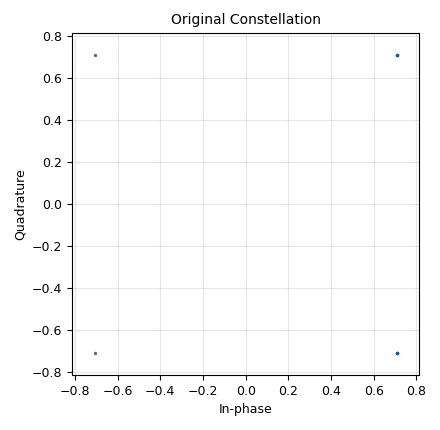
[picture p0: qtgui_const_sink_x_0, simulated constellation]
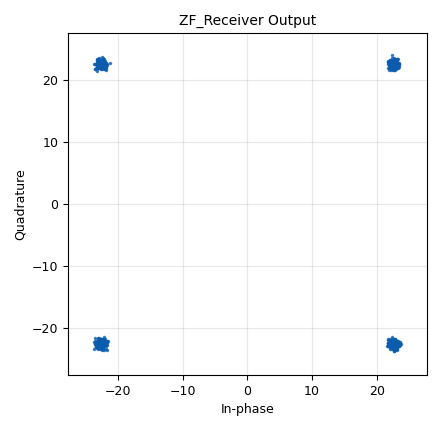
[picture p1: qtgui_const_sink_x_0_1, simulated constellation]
options:
  parameters:
    author: shivam
    generate_options: qt_gui
    id: OFDM_32_SC_general_ctaps
    output_language: python
    title: Not titled yet
  states: {}

blocks:
- name: channel_taps
  id: variable
  parameters:
    value: (1, ctap1, ctap2, ctap3, ctap4, ctap5, ctap6)
  states: {}
- name: const_points
  id: variable
  parameters:
    value: '4'
  states: {}
- name: ctap1
  id: variable_qtgui_range
  parameters:
    outputmsgname: value
    showports: 'False'
    start: '-1'
    step: '0.1'
    stop: '1'
    value: '0'
  states: {}
- name: ctap2
  id: variable_qtgui_range
  parameters:
    outputmsgname: value
    showports: 'False'
    start: '-1'
    step: '0.1'
    stop: '1'
    value: '0'
  states: {}
- name: ctap3
  id: variable_qtgui_range
  parameters:
    outputmsgname: value
    showports: 'False'
    start: '-1'
    step: '0.1'
    stop: '1'
    value: '0'
  states: {}
- name: ctap4
  id: variable_qtgui_range
  parameters:
    outputmsgname: value
    showports: 'False'
    start: '-1'
    step: '0.1'
    stop: '1'
    value: '0'
  states: {}
- name: ctap5
  id: variable_qtgui_range
  parameters:
    outputmsgname: value
    showports: 'False'
    start: '-1'
    step: '0.1'
    stop: '1'
    value: '0'
  states: {}
- name: ctap6
  id: variable_qtgui_range
  parameters:
    outputmsgname: value
    showports: 'False'
    start: '-1'
    step: '0.1'
    stop: '1'
    value: '0'
  states: {}
- name: fft_len
  id: variable
  parameters:
    value: '32'
  states: {}
- name: noise_level
  id: variable_qtgui_range
  parameters:
    outputmsgname: value
    showports: 'False'
    start: '0'
    step: '0.1'
    stop: '1'
    value: '0.1'
  states: {}
- name: num_channelTaps
  id: variable
  parameters:
    value: len(channel_taps)
  states: {}
- name: samp_rate
  id: variable
  parameters:
    value: '32000'
  states: {}
- name: analog_noise_source_x_0
  id: analog_noise_source_x
  parameters:
    amp: noise_level
    comment: |-
      Add AWGN to the channel, 
      amplitude varies 
      from 0.1 to 1 in steps of 0.1
    noise_type: analog.GR_GAUSSIAN
    seed: '0'
    type: complex
  states: {}
- name: analog_random_source_x_0
  id: analog_random_source_x
  parameters:
    comment: |-
      Generates random samples between [min,max-1], max value is not 
      included.
    max: const_points
    min: '0'
    num_samps: '10000'
    repeat: 'True'
    type: byte
  states: {}
- name: blocks_add_xx_0
  id: blocks_add_xx
  parameters:
    type: complex
  states: {}
- name: blocks_divide_xx_0
  id: blocks_divide_xx
  parameters:
    type: complex
  states: {}
- name: blocks_keep_m_in_n_0
  id: blocks_keep_m_in_n
  parameters:
    comment: |-
      Extracts the last num_channelTaps-1 symbols for placing 
      them at front as cyclic prefix
    m: num_channelTaps-1
    n: fft_len
    offset: fft_len-num_channelTaps+1
    type: complex
  states: {}
- name: blocks_keep_m_in_n_0_0
  id: blocks_keep_m_in_n
  parameters:
    comment: |-
      Cyclic prefix removal. Removes the first (num_channelTaps-1) 
      symbols, these are the cyclic prefix.
      Keeps next fft_len symbols
    m: fft_len
    n: fft_len+num_channelTaps-1
    offset: num_channelTaps-1
    type: complex
  states: {}
- name: blocks_multiply_conjugate_cc_0
  id: blocks_multiply_conjugate_cc
  parameters: {}
  states: {}
- name: blocks_multiply_conjugate_cc_0_0
  id: blocks_multiply_conjugate_cc
  parameters:
    comment: |-
      multiply the received symbol by the
      conjugate of the FFT of zero appended
      fft_len vector of the channel taps
  states: {}
- name: blocks_stream_mux_0
  id: blocks_stream_mux
  parameters:
    comment: |-
      The (num_channelTaps-1) length cyclic prefix 
      is placed before the OFDM symbol.
    lengths: (num_channelTaps-1,fft_len)
    type: complex
  states: {}
- name: blocks_stream_to_vector_0
  id: blocks_stream_to_vector
  parameters:
    comment: |-
      The output vector is 
      of length Vec Length * Num items
    num_items: fft_len
    type: complex
  states: {}
- name: blocks_stream_to_vector_0_0
  id: blocks_stream_to_vector
  parameters:
    num_items: fft_len
    type: complex
  states: {}
- name: blocks_throttle_0_0
  id: blocks_throttle
  parameters:
    samples_per_second: samp_rate
    type: complex
  states: {}
- name: blocks_vector_source_x_0
  id: blocks_vector_source_x
  parameters:
    comment: |-
      Create a fft_len vector of channel
      taps appended by (fft_len-num_channelTaps).
      For implementing ZF-Receiver
    repeat: 'True'
    type: complex
    vector: np.concatenate((channel_taps, np.zeros((fft_len-num_channelTaps)) + 1j*np.zeros((fft_len-num_channelTaps))))
    vlen: fft_len
  states: {}
- name: blocks_vector_to_stream_0
  id: blocks_vector_to_stream
  parameters:
    num_items: fft_len
    type: complex
  states: {}
- name: blocks_vector_to_stream_0_0
  id: blocks_vector_to_stream
  parameters:
    num_items: fft_len
    type: complex
  states: {}
- name: blocks_vector_to_stream_0_0_0
  id: blocks_vector_to_stream
  parameters:
    num_items: fft_len
    type: complex
  states: {}
- name: digital_chunks_to_symbols_xx_0
  id: digital_chunks_to_symbols_xx
  parameters:
    comment: |-
      Map a stream of symbols to stream of float or complex 
      constellation points in D dimensions
    dimension: '1'
    in_type: byte
    out_type: complex
    symbol_table: ((0.707-0.707j), (0.707+0.707j), (-0.707-0.707j), (-0.707+0.707j))
  states: {}
- name: fft_vxx_0
  id: fft_vxx
  parameters:
    fft_size: fft_len
    forward: 'False'
    shift: 'False'
    type: complex
    window: '[]'
  states: {}
- name: fft_vxx_0_0
  id: fft_vxx
  parameters:
    fft_size: fft_len
    forward: 'True'
    shift: 'False'
    type: complex
    window: '[]'
  states: {}
- name: fft_vxx_0_0_0
  id: fft_vxx
  parameters:
    fft_size: fft_len
    forward: 'True'
    shift: 'False'
    type: complex
    window: '[]'
  states: {}
- name: fir_filter_xxx_0
  id: fir_filter_xxx
  parameters:
    comment: |-
      The wireless multipath 
      fading channel gets convolved with 
      the OFDM symbol with cyclic prefix .
    decim: '1'
    samp_delay: num_channelTaps-1
    taps: channel_taps
    type: ccc
  states: {}
- name: import_0
  id: import
  parameters:
    imports: import numpy as np
  states: {}
- name: qtgui_const_sink_x_0
  id: qtgui_const_sink_x
  parameters:
    autoscale: 'True'
    name: '"Original Constellation"'
    size: '8'
    type: complex
  states: {}
- name: qtgui_const_sink_x_0_1
  id: qtgui_const_sink_x
  parameters:
    autoscale: 'True'
    grid: 'True'
    name: '"ZF_Receiver Output"'
    size: '1000'
    type: complex
  states: {}

connections:
- [analog_noise_source_x_0, '0', blocks_add_xx_0, '1']
- [analog_random_source_x_0, '0', digital_chunks_to_symbols_xx_0, '0']
- [blocks_add_xx_0, '0', blocks_stream_to_vector_0_0, '0']
- [blocks_divide_xx_0, '0', qtgui_const_sink_x_0_1, '0']
- [blocks_keep_m_in_n_0, '0', blocks_stream_mux_0, '0']
- [blocks_keep_m_in_n_0_0, '0', blocks_add_xx_0, '0']
- [blocks_multiply_conjugate_cc_0, '0', blocks_divide_xx_0, '1']
- [blocks_multiply_conjugate_cc_0_0, '0', blocks_divide_xx_0, '0']
- [blocks_stream_mux_0, '0', fir_filter_xxx_0, '0']
- [blocks_stream_to_vector_0, '0', fft_vxx_0, '0']
- [blocks_stream_to_vector_0_0, '0', fft_vxx_0_0, '0']
- [blocks_throttle_0_0, '0', qtgui_const_sink_x_0, '0']
- [blocks_vector_source_x_0, '0', fft_vxx_0_0_0, '0']
- [blocks_vector_to_stream_0, '0', blocks_keep_m_in_n_0, '0']
- [blocks_vector_to_stream_0, '0', blocks_stream_mux_0, '1']
- [blocks_vector_to_stream_0_0, '0', blocks_multiply_conjugate_cc_0, '0']
- [blocks_vector_to_stream_0_0, '0', blocks_multiply_conjugate_cc_0, '1']
- [blocks_vector_to_stream_0_0, '0', blocks_multiply_conjugate_cc_0_0, '1']
- [blocks_vector_to_stream_0_0_0, '0', blocks_multiply_conjugate_cc_0_0, '0']
- [digital_chunks_to_symbols_xx_0, '0', blocks_stream_to_vector_0, '0']
- [digital_chunks_to_symbols_xx_0, '0', blocks_throttle_0_0, '0']
- [fft_vxx_0, '0', blocks_vector_to_stream_0, '0']
- [fft_vxx_0_0, '0', blocks_vector_to_stream_0_0_0, '0']
- [fft_vxx_0_0_0, '0', blocks_vector_to_stream_0_0, '0']
- [fir_filter_xxx_0, '0', blocks_keep_m_in_n_0_0, '0']

metadata:
  file_format: 1
  grc_version: 3.10.4.0
